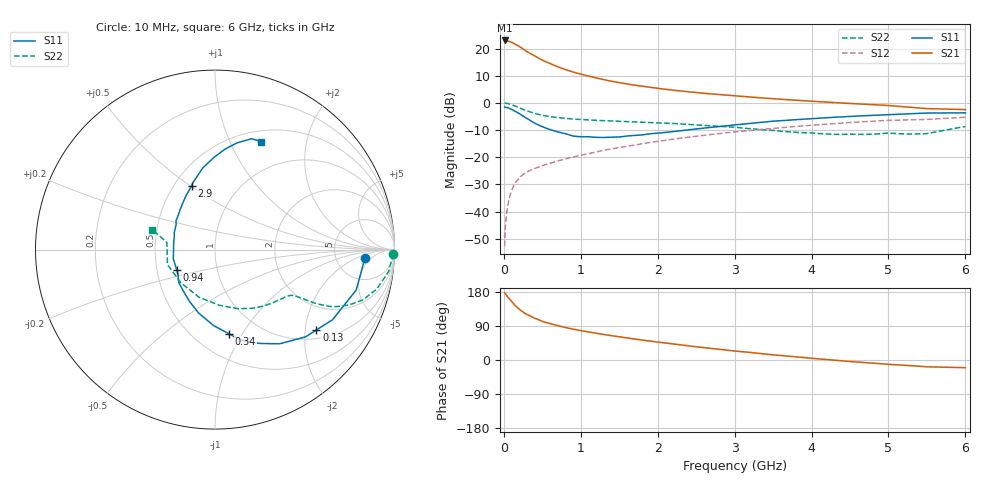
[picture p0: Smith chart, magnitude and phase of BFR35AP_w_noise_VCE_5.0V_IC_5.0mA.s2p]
! Infineon Technologies  Discrete & RF Semiconductors
! BFR35AP
! VCE =  5.0 V,  IC =  5.0 mA
! Common Emitter S-Parameters:  Nov 2015
# GHz  S  MA  R  50
!  f  S11  S21  S12  S22
! GHz  MAG  ANG  MAG  ANG  MAG  ANG  MAG  ANG
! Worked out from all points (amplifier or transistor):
!   210 points, 10 MHz to 6 GHz, reference 50 ohm
!   highest |S21| = 23.0 dB at 10 MHz (marker M1)
!   |S21| within 3 dB of that: start of sweep to 242.2 MHz
!   unconditionally stable (mu >= 1): 825.4 MHz to 3.289 GHz
!   at 185 MHz: K = 0.37, MSG = 24.6 dB, |S12| = -28.1 dB
!   at 1.52 GHz: K = 1.12, MAG = 9.8 dB, |S12| = -16.4 dB
!   at 6 GHz: K = 0.93, MSG = 1.4 dB, |S12| = -5.3 dB
!   lowest NFmin = 1.50 dB at 450 MHz
!   S11 on the Smith chart (normalised r, x): 10 MHz: 10, -3; 130 MHz: 1.23, -2.30; 340 MHz: 0.72, -0.88; 940 MHz: 0.64, -0.16; 2.9 GHz: 0.61, +0.51; 6 GHz: 0.63, +1.32
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0.01  0.8367 -3.1  14.09 177.4  0.0023 89.2  0.9939 -1.4
0.05  0.8182 -16.0  13.88 166.7  0.0125 80.8  0.9754 -7.2
0.1  0.7622 -30.9  13.13 154.6  0.0242 73.9  0.9277 -13.7
0.13  0.7208 -38.4  12.38 148.0  0.0301 70.4  0.8933 -16.6
0.15  0.7008 -43.9  11.98 143.1  0.0341 68.7  0.8717 -18.7
0.2  0.6362 -55.6  10.96 134.0  0.0414 64.5  0.8108 -22.3
0.26  0.5609 -67.6  9.597 125.2  0.0492 60.6  0.7465 -25.2
0.3  0.5193 -74.7  8.801 120.1  0.0537 59.2  0.7122 -26.4
0.34  0.4766 -80.4  8.177 116.6  0.057 58.3  0.683 -27.0
0.4  0.4236 -91.0  7.309 110.3  0.062 57.2  0.6394 -28.1
0.5  0.3646 -104.6  6.114 102.0  0.0696 56.9  0.5887 -28.8
0.58  0.3295 -113.6  5.428 97.3  0.0759 56.7  0.5641 -29.1
0.7  0.2928 -126.5  4.619 90.4  0.0852 57.2  0.5364 -29.6
0.94  0.2414 -151.5  3.567 79.9  0.104 58.2  0.4992 -30.7
1.02  0.2373 -159.3  3.322 76.8  0.1103 58.4  0.4919 -31.3
1.4  0.2336 170.0  2.495 64.1  0.142 58.2  0.4657 -35.6
2.02  0.2782 138.1  1.836 46.7  0.1977 55.8  0.4281 -45.1
2.9  0.3791 110.2  1.385 26.0  0.282 48.6  0.3626 -65.0
3.1  0.4051 106.1  1.314 21.9  0.3009 46.3  0.3446 -71.1
4.1  0.5236 89.2  1.052 2.8  0.3966 34.7  0.2721 -113.9
5.1  0.6152 76.9  0.871 -12.6  0.4798 20.8  0.2719 -167.5
6  0.6549 66.7  0.752 -20.3  0.5437 10.1  0.3664 162.3
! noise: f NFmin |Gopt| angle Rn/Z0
0.45  1.5  0.28  29  0.34
0.9  1.8  0.25  59  0.34
